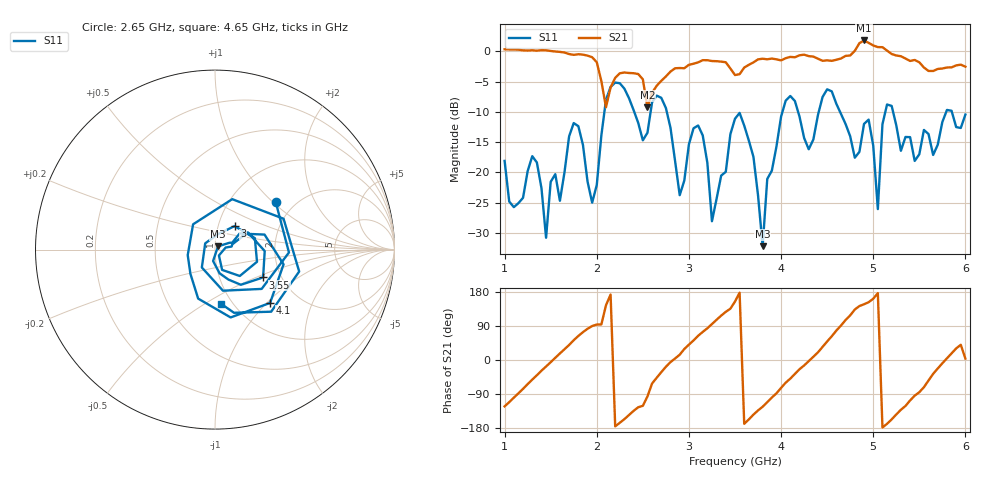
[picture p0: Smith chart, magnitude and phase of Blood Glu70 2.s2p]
! NanoVNA-App
! Date: 2024-03-21 13:01:46
! Start: 1GHz Stop: 6GHz Points: 101
! S-Parameter data: F S11 S21 S12 S22
# Hz S RI R 50
!	Frequency	S11_Real	S11_Imag	S21_Real	S21_Imag	S12_Real	S12_Imag	S22_Real	S22_Imag
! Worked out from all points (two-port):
!   101 points, 1 GHz to 6 GHz, reference 50 ohm
!   highest |S21| = 1.78 dB at 4.9 GHz (marker M1); lowest = -9.3 dB at 2.55 GHz (marker M2)
!   |S21| within 3 dB of the highest: start of sweep to 1.964 GHz; 4.645 GHz to 5.352 GHz (706.6 MHz wide, 14.1 % of centre)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
!   lowest |S11| = -32.2 dB at 3.8 GHz (marker M3), VSWR 1.05, Z = 51.7 + j1.85 ohm
!   |S11| at or under -10 dB: start of sweep to 2.083 GHz; 2.76 GHz to 4.015 GHz (1.256 GHz wide, 37.1 % of centre); 5.215 GHz to 5.792 GHz (577.3 MHz wide, 10.5 % of centre)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
!   S12 and S22 are empty: the file has one direction only
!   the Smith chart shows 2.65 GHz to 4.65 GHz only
!   S11 on the Smith chart (normalised r, x): 2.65 GHz: 1.60, +1.05; 3 GHz: 1.20, +0.32; 3.55 GHz: 1.61, -0.55; 4.1 GHz: 1.44, -1.04; 4.65 GHz: 0.89, -0.59
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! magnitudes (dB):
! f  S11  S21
! 1 GHz  -18.1  0.3
! 1.35 GHz  -18.4  0.1
! 1.45 GHz  -30.8  0.2
! 1.85 GHz  -15.5  -0.6
! 1.95 GHz  -25.0  -1.0
! 2.15 GHz  -5.9  -6.0
! 2.55 GHz  -13.5  -9.3
! 2.65 GHz  -7.3  -5.7
! 2.7 GHz  -7.7  -4.9
! 2.9 GHz  -23.8  -2.8
! 3 GHz  -15.4  -2.2
! 3.25 GHz  -28.1  -1.6
! 3.5 GHz  -11.1  -3.9
! 3.55 GHz  -10.2  -3.8
! 3.8 GHz  -32.2  -1.2
! 4.1 GHz  -7.4  -0.9
! 4.35 GHz  -14.6  -0.9
! 4.65 GHz  -10.3  -1.2
! 4.9 GHz  -12.0  1.8
! 5.05 GHz  -26.1  0.7
! 5.2 GHz  -9.0  -0.5
! 6 GHz  -10.5  -2.6
